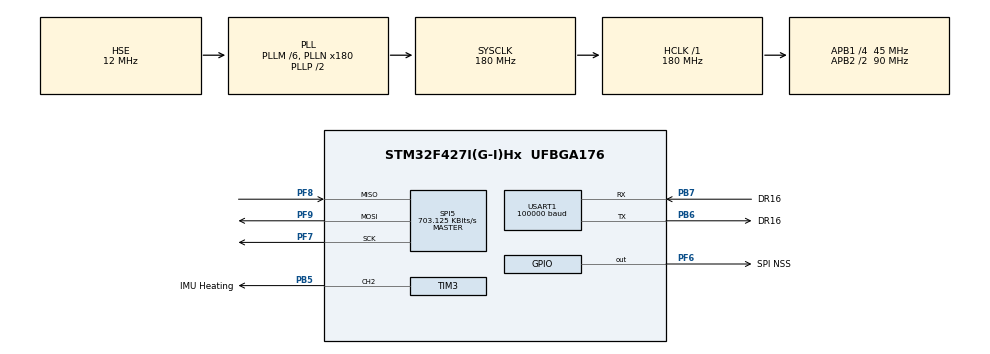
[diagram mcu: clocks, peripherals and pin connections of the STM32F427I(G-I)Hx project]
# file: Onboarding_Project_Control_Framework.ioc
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Dma.Request0=USART1_RX
Dma.USART1_RX.0.Direction=DMA_PERIPH_TO_MEMORY
Dma.USART1_RX.0.FIFOMode=DMA_FIFOMODE_DISABLE
Dma.USART1_RX.0.Instance=DMA2_Stream2
Dma.USART1_RX.0.MemDataAlignment=DMA_MDATAALIGN_BYTE
Dma.USART1_RX.0.MemInc=DMA_MINC_ENABLE
Dma.USART1_RX.0.Mode=DMA_CIRCULAR
Dma.USART1_RX.0.PeriphDataAlignment=DMA_PDATAALIGN_BYTE
Dma.USART1_RX.0.PeriphInc=DMA_PINC_DISABLE
Dma.USART1_RX.0.Priority=DMA_PRIORITY_LOW
FREERTOS.INCLUDE_vTaskDelayUntil=1
FREERTOS.Tasks01=Task_IMU,0,384,StartIMUTask,Default,NULL,Dynamic,NULL,NULL;Task_Init,2,128,General_Init,Default,NULL,Dynamic,NULL,NULL;Task_Robot_Ctrl,3,640,Robot_Control,Default,NULL,Dynamic,NULL,NULL
Mcu.Family=STM32F4
Mcu.Name=STM32F427I(G-I)Hx
Mcu.Package=UFBGA176
NVIC.DMA2_Stream2_IRQn=true\:0\:0\:true\:false\:true\:false\:false\:false\:true
NVIC.PriorityGroup=NVIC_PRIORITYGROUP_4
NVIC.TIM6_DAC_IRQn=true\:15\:0\:true\:false\:true\:false\:false\:true\:true
NVIC.TimeBase=TIM6_DAC_IRQn
NVIC.TimeBaseIP=TIM6
NVIC.USART1_IRQn=true\:5\:0\:true\:false\:true\:false\:true\:false\:true
PA13.Mode=Serial_Wire
PA13.Signal=SYS_JTMS-SWDIO
PA14.Mode=Serial_Wire
PA14.Signal=SYS_JTCK-SWCLK
PB5.GPIO_Label=IMU Heating
PB5.Signal=S_TIM3_CH2
PB6.GPIO_Label=DR16
PB6.GPIO_PuPd=GPIO_PULLUP
PB6.Mode=Asynchronous
PB6.Signal=USART1_TX
PB7.GPIO_Label=DR16
PB7.GPIO_PuPd=GPIO_PULLUP
PB7.Mode=Asynchronous
PB7.Signal=USART1_RX
PF6.GPIO_Label=SPI NSS
PF6.GPIO_PuPd=GPIO_PULLUP
PF6.GPIO_Speed=GPIO_SPEED_FREQ_LOW
PF6.Signal=GPIO_Output
PF7.Mode=Full_Duplex_Master
PF7.Signal=SPI5_SCK
PF8.Mode=Full_Duplex_Master
PF8.Signal=SPI5_MISO
PF9.Mode=Full_Duplex_Master
PF9.Signal=SPI5_MOSI
PH0/OSC_IN.Mode=HSE-External-Oscillator
PH0/OSC_IN.Signal=RCC_OSC_IN
PH1/OSC_OUT.Mode=HSE-External-Oscillator
PH1/OSC_OUT.Signal=RCC_OSC_OUT
ProjectManager.HeapSize=0x200
ProjectManager.StackSize=0x400
ProjectManager.TargetToolchain=MDK-ARM V5.32
RCC.48MHZClocksFreq_Value=90000000
RCC.AHBFreq_Value=180000000
RCC.APB1CLKDivider=RCC_HCLK_DIV4
RCC.APB1Freq_Value=45000000
RCC.APB1TimFreq_Value=90000000
RCC.APB2CLKDivider=RCC_HCLK_DIV2
RCC.APB2Freq_Value=90000000
RCC.APB2TimFreq_Value=180000000
RCC.CortexFreq_Value=180000000
RCC.HCLKFreq_Value=180000000
RCC.HSE_VALUE=12000000
RCC.HSI_VALUE=16000000
RCC.LSE_VALUE=32768
RCC.PLLM=6
RCC.PLLN=180
RCC.PLLSourceVirtual=RCC_PLLSOURCE_HSE
RCC.SYSCLKFreq_VALUE=180000000
RCC.SYSCLKSource=RCC_SYSCLKSOURCE_PLLCLK
RCC.VCOOutputFreq_Value=360000000
SH.S_TIM3_CH2.0=TIM3_CH2,PWM Generation2 CH2
SPI5.BaudRatePrescaler=SPI_BAUDRATEPRESCALER_128
SPI5.CalculateBaudRate=703.125 KBits/s
SPI5.Direction=SPI_DIRECTION_2LINES
SPI5.Mode=SPI_MODE_MASTER
SPI5.VirtualType=VM_MASTER
TIM3.Channel-PWM\ Generation2\ CH2=TIM_CHANNEL_2
TIM3.Period=4999
TIM5.Channel-PWM\ Generation4\ CH4=TIM_CHANNEL_4
TIM5.Period=999
TIM8.Period=999
TIM8.Prescaler=167
USART1.BaudRate=100000
USART1.VirtualMode=VM_ASYNC
VP_FREERTOS_VS_CMSIS_V1.Mode=CMSIS_V1
VP_SYS_VS_tim6.Mode=TIM6
VP_TIM3_VS_ClockSourceINT.Mode=Internal
VP_TIM5_VS_ClockSourceINT.Mode=Internal
VP_TIM8_VS_ClockSourceINT.Mode=Internal
board=custom

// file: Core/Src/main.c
/* USER CODE BEGIN Header */
/**
  ******************************************************************************
  * @file           : main.c
  * @brief          : Main program body
  ******************************************************************************
  * @attention
  *
  * Copyright (c) 2022 STMicroelectronics.
  * All rights reserved.
  *
  * This software is licensed under terms that can be found in the LICENSE file
  * in the root directory of this software component.
  * If no LICENSE file comes with this software, it is provided AS-IS.
  *
  ******************************************************************************
  */
/* USER CODE END Header */
#include "main.h"
#include "cmsis_os.h"
#include "dma.h"
#include "spi.h"
#include "tim.h"
#include "usart.h"
#include "gpio.h"

void SystemClock_Config(void);
void MX_FREERTOS_Init(void);

int main(void)
{

  /* MCU Configuration--------------------------------------------------------*/

  /* Reset of all peripherals, Initializes the Flash interface and the Systick. */
  HAL_Init();

  /* Configure the system clock */
  SystemClock_Config();

  /* Initialize all configured peripherals */
  MX_GPIO_Init();
  MX_DMA_Init();
  MX_TIM3_Init();
  MX_USART1_UART_Init();
  MX_SPI5_Init();
  MX_TIM8_Init();
  MX_TIM5_Init();

  /* Call init function for freertos objects (in freertos.c) */
  MX_FREERTOS_Init();

  /* Start scheduler */
  osKernelStart();

  /* We should never get here as control is now taken by the scheduler */
  /* Infinite loop */
  while (1)
  {

  }
}

void SystemClock_Config(void)
{
  RCC_OscInitTypeDef RCC_OscInitStruct = {0};
  RCC_ClkInitTypeDef RCC_ClkInitStruct = {0};

  /** Configure the main internal regulator output voltage
  */
  __HAL_RCC_PWR_CLK_ENABLE();
  __HAL_PWR_VOLTAGESCALING_CONFIG(PWR_REGULATOR_VOLTAGE_SCALE1);

  /** Initializes the RCC Oscillators according to the specified parameters
  * in the RCC_OscInitTypeDef structure.
  */
  RCC_OscInitStruct.OscillatorType = RCC_OSCILLATORTYPE_HSE;
  RCC_OscInitStruct.HSEState = RCC_HSE_ON;
  RCC_OscInitStruct.PLL.PLLState = RCC_PLL_ON;
  RCC_OscInitStruct.PLL.PLLSource = RCC_PLLSOURCE_HSE;
  RCC_OscInitStruct.PLL.PLLM = 6;
  RCC_OscInitStruct.PLL.PLLN = 180;
  RCC_OscInitStruct.PLL.PLLP = RCC_PLLP_DIV2;
  RCC_OscInitStruct.PLL.PLLQ = 4;
  if (HAL_RCC_OscConfig(&RCC_OscInitStruct) != HAL_OK)
  {
    Error_Handler();
  }

  /** Activate the Over-Drive mode
  */
  if (HAL_PWREx_EnableOverDrive() != HAL_OK)
  {
    Error_Handler();
  }

  /** Initializes the CPU, AHB and APB buses clocks
  */
  RCC_ClkInitStruct.ClockType = RCC_CLOCKTYPE_HCLK|RCC_CLOCKTYPE_SYSCLK
                              |RCC_CLOCKTYPE_PCLK1|RCC_CLOCKTYPE_PCLK2;
  RCC_ClkInitStruct.SYSCLKSource = RCC_SYSCLKSOURCE_PLLCLK;
  RCC_ClkInitStruct.AHBCLKDivider = RCC_SYSCLK_DIV1;
  RCC_ClkInitStruct.APB1CLKDivider = RCC_HCLK_DIV4;
  RCC_ClkInitStruct.APB2CLKDivider = RCC_HCLK_DIV2;

  if (HAL_RCC_ClockConfig(&RCC_ClkInitStruct, FLASH_LATENCY_5) != HAL_OK)
  {
    Error_Handler();
  }
}

void HAL_TIM_PeriodElapsedCallback(TIM_HandleTypeDef *htim)
{
  if (htim->Instance == TIM6) {
    HAL_IncTick();
  }
}

void Error_Handler(void)
{
  __disable_irq();
  while (1)
  {
  }
}

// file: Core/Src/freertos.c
/* USER CODE BEGIN Header */
/**
  ******************************************************************************
  * File Name          : freertos.c
  * Description        : Code for freertos applications
  ******************************************************************************
  * @attention
  *
  * Copyright (c) 2022 STMicroelectronics.
  * All rights reserved.
  *
  * This software is licensed under terms that can be found in the LICENSE file
  * in the root directory of this software component.
  * If no LICENSE file comes with this software, it is provided AS-IS.
  *
  ******************************************************************************
  */
/* USER CODE END Header */

#include "FreeRTOS.h"
#include "task.h"
#include "main.h"
#include "cmsis_os.h"

/* USER CODE BEGIN Includes */
#include "Board_A_IMU.h"
#include "IMU_Temp_Control.h"
#include "DR16_Remote.h"
#include "Fusion.h"
#include "Motors.h"
#include "Robot_Control.h"
/* USER CODE END Includes */

osThreadId Task_IMUHandle;
osThreadId Task_InitHandle;
osThreadId Task_Robot_CtrlHandle;

void StartIMUTask(void const * argument);
void General_Init(void const * argument);
void Robot_Control(void const * argument);

void MX_FREERTOS_Init(void); /* (MISRA C 2004 rule 8.1) */

/* GetIdleTaskMemory prototype (linked to static allocation support) */
void vApplicationGetIdleTaskMemory( StaticTask_t **ppxIdleTaskTCBBuffer, StackType_t **ppxIdleTaskStackBuffer, uint32_t *pulIdleTaskStackSize );

/* USER CODE BEGIN GET_IDLE_TASK_MEMORY */
static StaticTask_t xIdleTaskTCBBuffer;
static StackType_t xIdleStack[configMINIMAL_STACK_SIZE];

void vApplicationGetIdleTaskMemory( StaticTask_t **ppxIdleTaskTCBBuffer, StackType_t **ppxIdleTaskStackBuffer, uint32_t *pulIdleTaskStackSize )
{
  *ppxIdleTaskTCBBuffer = &xIdleTaskTCBBuffer;
  *ppxIdleTaskStackBuffer = &xIdleStack[0];
  *pulIdleTaskStackSize = configMINIMAL_STACK_SIZE;
  /* place for user code */
}
/* USER CODE END GET_IDLE_TASK_MEMORY */

void MX_FREERTOS_Init(void) {

  /* Create the thread(s) */
  /* definition and creation of Task_IMU */
  osThreadDef(Task_IMU, StartIMUTask, osPriorityNormal, 0, 384);
  Task_IMUHandle = osThreadCreate(osThread(Task_IMU), NULL);

  /* definition and creation of Task_Init */
  osThreadDef(Task_Init, General_Init, osPriorityHigh, 0, 128);
  Task_InitHandle = osThreadCreate(osThread(Task_Init), NULL);

  /* definition and creation of Task_Robot_Ctrl */
  osThreadDef(Task_Robot_Ctrl, Robot_Control, osPriorityRealtime, 0, 640);
  Task_Robot_CtrlHandle = osThreadCreate(osThread(Task_Robot_Ctrl), NULL);

}

void StartIMUTask(void const * argument)
{
  /* USER CODE BEGIN StartIMUTask */
	portTickType xLastWakeTime;
  xLastWakeTime = xTaskGetTickCount();

  const TickType_t TimeIncrement = pdMS_TO_TICKS(1);
  /* Infinite loop */
  for(;;)
  {
    //Board_A_IMU_Func.Board_A_IMU_Calibrate(&Board_A_IMU);
		Board_A_IMU_Func.Board_A_IMU_Read_Data(&Board_A_IMU);
		Board_A_IMU_Func.Board_A_IMU_Calc_Angle(&Board_A_IMU);
		IMU_Temp_Control_Func.Board_A_IMU_Temp_Control();

		vTaskDelayUntil(&xLastWakeTime, TimeIncrement);
  }
  /* USER CODE END StartIMUTask */
}

void General_Init(void const * argument)
{
  /* USER CODE BEGIN General_Init */
	IMU_Temp_Control_Func.Board_A_IMU_Temp_Control_Init();
	Board_A_IMU_Func.Board_A_IMU_Init();
	FusionAhrsInitialise(&Board_A_IMU_AHRS);
	DR16_Func.DR16_USART_Receive_DMA(&huart1);
	Motors_Func.Motors_Init();
	vTaskDelete(NULL);
  /* Infinite loop */
  /* USER CODE END General_Init */
}

void Robot_Control(void const * argument)
{
  /* USER CODE BEGIN Robot_Control */
	portTickType xLastWakeTime;
  xLastWakeTime = xTaskGetTickCount();

  const TickType_t TimeIncrement = pdMS_TO_TICKS(2);
  /* Infinite loop */
  for(;;)
  {
		Robot_Func.Robot_Get_Data();
		Robot_Func.Robot_In_Control();

		vTaskDelayUntil(&xLastWakeTime, TimeIncrement);
  }
  /* USER CODE END Robot_Control */
}
